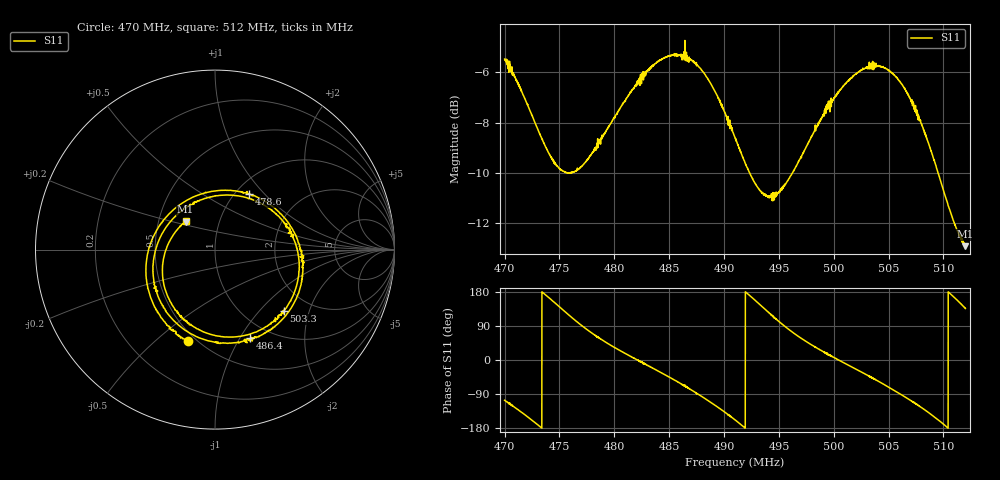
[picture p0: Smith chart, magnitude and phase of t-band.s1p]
! Calibrated averaged scanner-service zoom
# Hz S RI R 50
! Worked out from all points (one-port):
!   4001 points, 470 MHz to 512 MHz, reference 50 ohm
!   lowest |S11| = -12.9 dB at 512 MHz (marker M1), VSWR 1.59, Z = 34.4 + j11.3 ohm
!   |S11| at or under -10 dB: 475.8561 MHz to 475.916 MHz (59.92 kHz wide, 0.0126 % of centre); 492.3 MHz to 496.2 MHz (3.885 MHz wide, 0.786 % of centre); 509.5136 MHz to end of sweep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
!   S11 on the Smith chart (normalised r, x): 470 MHz: 0.45, -0.65; 478.6 MHz: 1.16, +0.82; 486.4 MHz: 0.81, -1.11; 503.3 MHz: 1.48, -1.37; 512 MHz: 0.69, +0.23
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4.7e8  -0.1493 -0.5105
4.71323e8  -0.3224 -0.342
4.72499e8  -0.3839 -0.1478
4.737275e8  -0.3532 0.0491
4.7525e8  -0.2218 0.2304
4.76846e8  -0.0282 0.322
4.785995e8  0.1914 0.3078
4.805e8  0.3836 0.1802
4.832825e8  0.4854 -0.1597
4.8449e8  0.4269 -0.321
4.8575e8  0.2904 -0.4577
4.863905e8  0.1965 -0.4933
4.884275e8  -0.1253 -0.4731
4.897505e8  -0.2823 -0.3257
4.91e8  -0.3439 -0.1393
4.92302e8  -0.3134 0.0488
4.937405e8  -0.1983 0.2063
4.9625e8  0.0916 0.3033
4.97762e8  0.2638 0.2535
4.99358e8  0.4071 0.1222
5.015e8  0.467 -0.1357
5.032535e8  0.3818 -0.3417
5.050595e8  0.1513 -0.481
5.0675e8  -0.0935 -0.4425
5.080205e8  -0.2322 -0.3186
5.092595e8  -0.2911 -0.1548
5.119895e8  -0.1643 0.1558
5.12e8  -0.1635 0.1579
